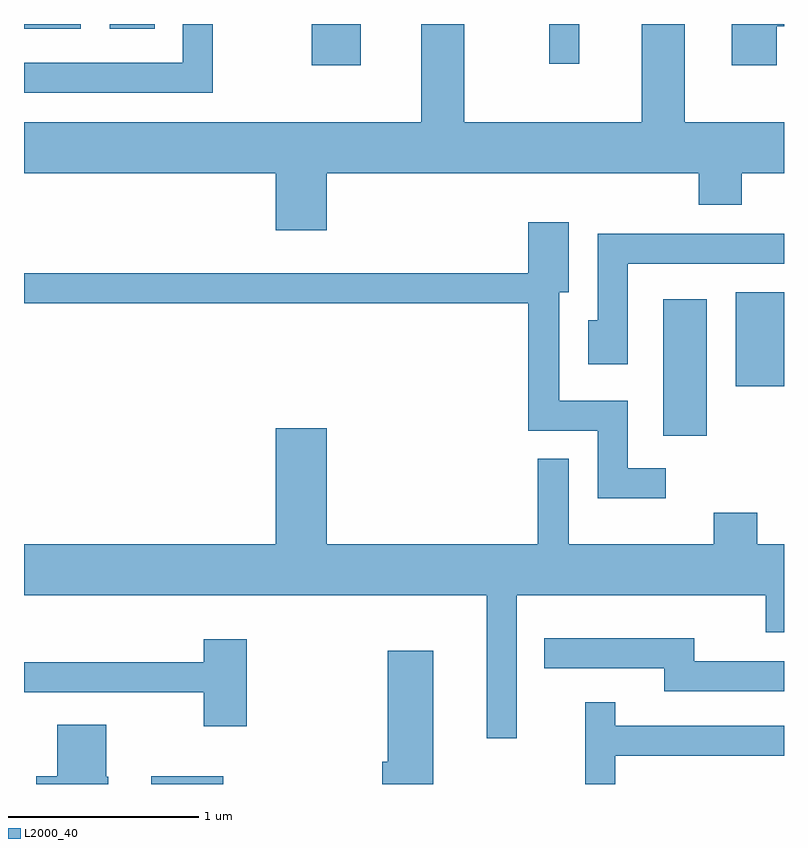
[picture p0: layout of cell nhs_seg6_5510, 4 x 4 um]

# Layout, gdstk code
import gdstk
lib = gdstk.Library(unit=1e-6, precision=1e-09)
def R(c, l, rs):  # rectangles x0, y0, x1, y1
    for r in rs: c.add(gdstk.rectangle(r[:2], r[2:], *l))
def P(c, l, *ps):  # polygons
    for p in ps: c.add(gdstk.Polygon(p, *l))
L2000_40 = (2000, 40)

nhs_seg6_5510 = lib.new_cell('nhs_seg6_5510')
R(nhs_seg6_5510, L2000_40, [(354.281,1540.162,354.659,1540.204), (356.976,1541.996,357.204,1542.714), (357.356,1542.256,357.611,1542.749), (355.126,1543.946,355.384,1544.162), (356.376,1543.953,356.534,1544.162), (353.611,1544.136,353.909,1544.162), (354.061,1544.136,354.298,1544.162)])
P(nhs_seg6_5510, L2000_40, [(355.204,1543.376),(357.161,1543.376),(357.161,1543.211),(357.389,1543.211),(357.389,1543.376),(357.611,1543.376),(357.611,1543.644),(357.089,1543.644),(357.089,1544.162),(356.861,1544.162),(356.861,1543.644),(355.929,1543.644),(355.929,1544.162),(355.701,1544.162),(355.701,1543.644),(353.611,1543.644),(353.611,1543.376),(354.936,1543.376),(354.936,1543.076),(355.204,1543.076)],
  [(354.604,1544.162),(354.446,1544.162),(354.446,1543.959),(353.611,1543.959),(353.611,1543.801),(354.604,1543.801)],
  [(357.574,1544.151),(357.611,1544.151),(357.611,1544.162),(357.336,1544.162),(357.336,1543.946),(357.574,1543.946)],
  [(356.988,1541.824),(356.789,1541.824),(356.789,1542.179),(356.429,1542.179),(356.429,1542.751),(356.479,1542.751),(356.479,1543.119),(356.266,1543.119),(356.266,1542.849),(353.611,1542.849),(353.611,1542.691),(356.266,1542.691),(356.266,1542.021),(356.631,1542.021),(356.631,1541.666),(356.988,1541.666)],
  [(356.789,1542.901),(357.611,1542.901),(357.611,1543.059),(356.631,1543.059),(356.631,1542.604),(356.581,1542.604),(356.581,1542.371),(356.789,1542.371)],
  [(356.204,1541.156),(357.516,1541.156),(357.516,1540.961),(357.611,1540.961),(357.611,1541.424),(357.469,1541.424),(357.469,1541.589),(357.241,1541.589),(357.241,1541.424),(356.479,1541.424),(356.479,1541.873),(356.316,1541.873),(356.316,1541.424),(355.204,1541.424),(355.204,1542.034),(354.936,1542.034),(354.936,1541.424),(353.611,1541.424),(353.611,1541.156),(356.046,1541.156),(356.046,1540.403),(356.204,1540.403)],
  [(357.611,1540.809),(357.139,1540.809),(357.139,1540.929),(356.348,1540.929),(356.348,1540.771),(356.981,1540.771),(356.981,1540.651),(357.611,1540.651)],
  [(354.784,1540.924),(354.556,1540.924),(354.556,1540.804),(353.611,1540.804),(353.611,1540.646),(354.556,1540.646),(354.556,1540.466),(354.784,1540.466)],
  [(355.764,1540.864),(355.526,1540.864),(355.526,1540.279),(355.496,1540.279),(355.496,1540.162),(355.764,1540.162)],
  [(356.724,1540.311),(357.611,1540.311),(357.611,1540.469),(356.724,1540.469),(356.724,1540.593),(356.566,1540.593),(356.566,1540.162),(356.724,1540.162)],
  [(354.054,1540.2),(354.044,1540.2),(354.044,1540.474),(353.786,1540.474),(353.786,1540.204),(353.676,1540.204),(353.676,1540.162),(354.054,1540.162)])

lib.write_gds('nhs_seg6_5510.gds')
